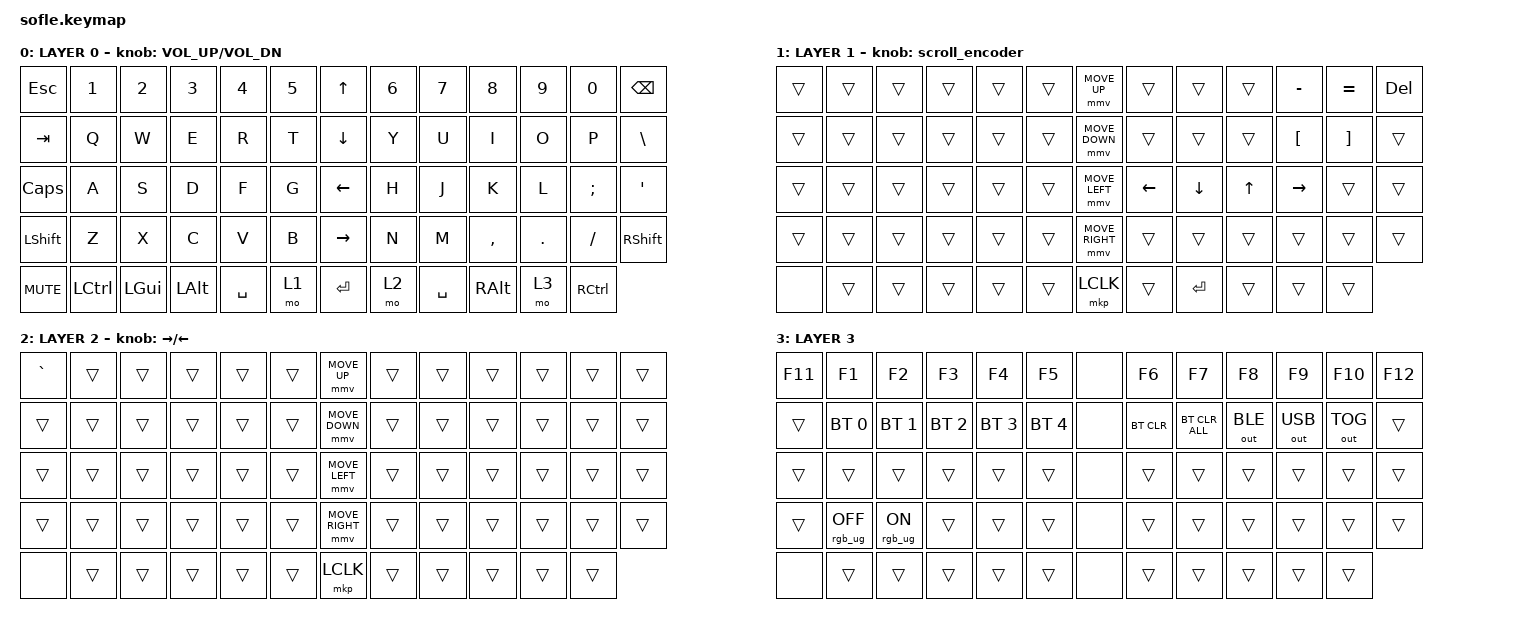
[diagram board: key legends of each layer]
#include <behaviors/mouse_keys.dtsi>
#include <behaviors.dtsi>
#include <dt-bindings/zmk/bt.h>
#include <dt-bindings/zmk/keys.h>
#include <dt-bindings/zmk/mouse.h>
#include <dt-bindings/zmk/outputs.h>
#include <dt-bindings/zmk/rgb.h>

#define ZMK_MOUSE_DEFAULT_MOVE_VAL 1200  // 600
#define ZMK_MOUSE_DEFAULT_SCRL_VAL 20    // 10
#define U_MS_U &mmv MOVE_UP
#define U_MS_D &mmv MOVE_DOWN
#define U_MS_L &mmv MOVE_LEFT
#define U_MS_R &mmv MOVE_RIGHT
#define ZMK_MOUSE_DEFAULT_MOVE_VAL 1200  //  600
#define ZMK_MOUSE_DEFAULT_SCRL_VAL 20    // 10

/ {
    behaviors {
        mmv {
            acceleration-exponent = <1>;      // 1
            time-to-max-speed-ms = <900>;    // 40
            delay-ms = <0>;                   // 0
        };

        msc {
            acceleration-exponent = <1>;      // 0
            time-to-max-speed-ms = <400>;      // 500
            delay-ms = <0>;                   //   10
        };
    };

    scroll_encoder: scroll_encoder {
        compatible = "zmk,behavior-sensor-rotate";
        #sensor-binding-cells = <0>;
        bindings = <&msc SCRL_DOWN>, <&msc SCRL_UP>;

        tap-ms = <30>;
    };

    keymap {
        compatible = "zmk,keymap";

        layer_0 {
            bindings = <
&kp ESC     &kp N1     &kp N2        &kp N3        &kp N4     &kp N5    &kp UP_ARROW     &kp N6  &kp N7     &kp N8     &kp N9   &kp N0     &kp BACKSPACE
&kp TAB     &kp Q      &kp W         &kp E         &kp R      &kp T     &kp DOWN_ARROW   &kp Y   &kp U      &kp I      &kp O    &kp P      &kp BSLH
&kp CAPS    &kp A      &kp S         &kp D         &kp F      &kp G     &kp LEFT_ARROW   &kp H   &kp J      &kp K      &kp L    &kp SEMI   &kp APOS
&kp LSHFT   &kp Z      &kp X         &kp C         &kp V      &kp B     &kp RIGHT_ARROW  &kp N   &kp M      &kp COMMA  &kp DOT  &kp FSLH   &kp RIGHT_SHIFT
&kp C_MUTE  &kp LCTRL  &kp LEFT_GUI  &kp LEFT_ALT  &kp SPACE  &mo 1     &kp ENTER        &mo 2   &kp SPACE  &kp RALT   &mo 3    &kp RCTRL
            >;

            sensor-bindings = <&inc_dec_kp C_VOLUME_UP C_VOL_DN>;
            display-name = "LAYER 0";
            label = "LAYER 0";
        };

        layer_1 {
            bindings = <
&trans  &trans  &trans  &trans  &trans  &trans    &mmv MOVE_UP     &trans    &trans     &trans  &kp MINUS         &kp EQUAL          &kp DEL
&trans  &trans  &trans  &trans  &trans  &trans    &mmv MOVE_DOWN   &trans    &trans     &trans  &kp LEFT_BRACKET  &kp RIGHT_BRACKET  &trans
&trans  &trans  &trans  &trans  &trans  &trans    &mmv MOVE_LEFT   &kp LEFT  &kp DOWN   &kp UP  &kp RIGHT         &trans             &trans
&trans  &trans  &trans  &trans  &trans  &trans    &mmv MOVE_RIGHT  &trans    &trans     &trans  &trans            &trans             &trans
&none   &trans  &trans  &trans  &trans  &trans    &mkp LCLK        &trans    &kp ENTER  &trans  &trans            &trans
            >;

            display-name = "LAYER 1";
            sensor-bindings = <&scroll_encoder>;
        };

        layer_2 {
            bindings = <
&kp GRAVE  &trans  &trans  &trans  &trans  &trans    &mmv MOVE_UP     &trans  &trans  &trans  &trans  &trans  &trans
&trans     &trans  &trans  &trans  &trans  &trans    &mmv MOVE_DOWN   &trans  &trans  &trans  &trans  &trans  &trans
&trans     &trans  &trans  &trans  &trans  &trans    &mmv MOVE_LEFT   &trans  &trans  &trans  &trans  &trans  &trans
&trans     &trans  &trans  &trans  &trans  &trans    &mmv MOVE_RIGHT  &trans  &trans  &trans  &trans  &trans  &trans
&none      &trans  &trans  &trans  &trans  &trans    &mkp LCLK        &trans  &trans  &trans  &trans  &trans
            >;

            sensor-bindings = <&inc_dec_kp RIGHT LEFT>;
            label = "LAYER 2";
        };

        layer_3 {
            bindings = <
&kp F11  &kp F1           &kp F2          &kp F3        &kp F4        &kp F5          &none  &kp F6      &kp F7          &kp F8        &kp F9        &kp F10       &kp F12
&trans   &bt BT_SEL 0     &bt BT_SEL 1    &bt BT_SEL 2  &bt BT_SEL 3  &bt BT_SEL 4    &none  &bt BT_CLR  &bt BT_CLR_ALL  &out OUT_BLE  &out OUT_USB  &out OUT_TOG  &trans
&trans   &trans           &trans          &trans        &trans        &trans          &none  &trans      &trans          &trans        &trans        &trans        &trans
&trans   &rgb_ug RGB_OFF  &rgb_ug RGB_ON  &trans        &trans        &trans          &none  &trans      &trans          &trans        &trans        &trans        &trans
&none    &trans           &trans          &trans        &trans        &trans          &none  &trans      &trans          &trans        &trans        &trans
            >;

            label = "LAYER 3";
        };
    };
};
